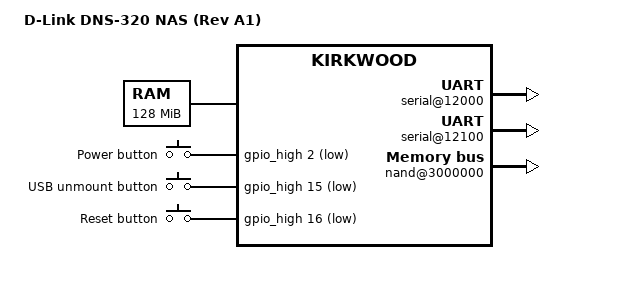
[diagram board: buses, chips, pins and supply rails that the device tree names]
/dts-v1/;

/include/ "kirkwood.dtsi"

/ {
	model = "D-Link DNS-320 NAS (Rev A1)";
	compatible = "dlink,dns-320-a1", "dlink,dns-320", "dlink,dns-kirkwood", "mrvl,kirkwood-88f6281", "mrvl,kirkwood";

	memory {
		device_type = "memory";
		reg = <0x00000000 0x8000000>;
	};

	chosen {
		bootargs = "console=ttyS0,115200n8 earlyprintk";
	};

	gpio-keys {
		compatible = "gpio-keys";
		power {
			label = "Power button";
			gpios = <&gpio_high 2 1>; /* GPIO 34 Active Low */
			linux,code = <116>; /* KEY_POWER */
			gpio-key,wakeup;
		};
		usb-unmount {
			label = "USB unmount button";
			gpios = <&gpio_high 15 1>; /* GPIO 47 Active Low */
			linux,code = <161>; /* KEY_EJECTCD */
			gpio-key,wakeup;
		};
		reset {
			label = "Reset button";
			gpios = <&gpio_high 16 1>; /* GPIO 48 Active Low */
			linux,code = <408>; /* KEY_RESTART */
			gpio-key,wakeup;
		};
	};

	ocp@f1000000 {
		serial@12000 {
			clock-frequency = <166666667>;
			status = "okay";
		};

		serial@12100 {
			clock-frequency = <166666667>;
			status = "okay";
		};

		nand@3000000 {
			status = "okay";

			partition@0 {
				label = "u-boot";
				reg = <0x0000000 0x100000>;
				read-only;
			};

			partition@100000 {
				label = "uImage";
				reg = <0x0100000 0x500000>;
			};

			partition@600000 {
				label = "ramdisk";
				reg = <0x0600000 0x500000>;
			};

			partition@b00000 {
				label = "image";
				reg = <0x0b00000 0x6600000>;
			};

			partition@7100000 {
				label = "mini firmware";
				reg = <0x7100000 0xa00000>;
			};

			partition@7b00000 {
				label = "config";
				reg = <0x7b00000 0x500000>;
			};
		};
	};
};
